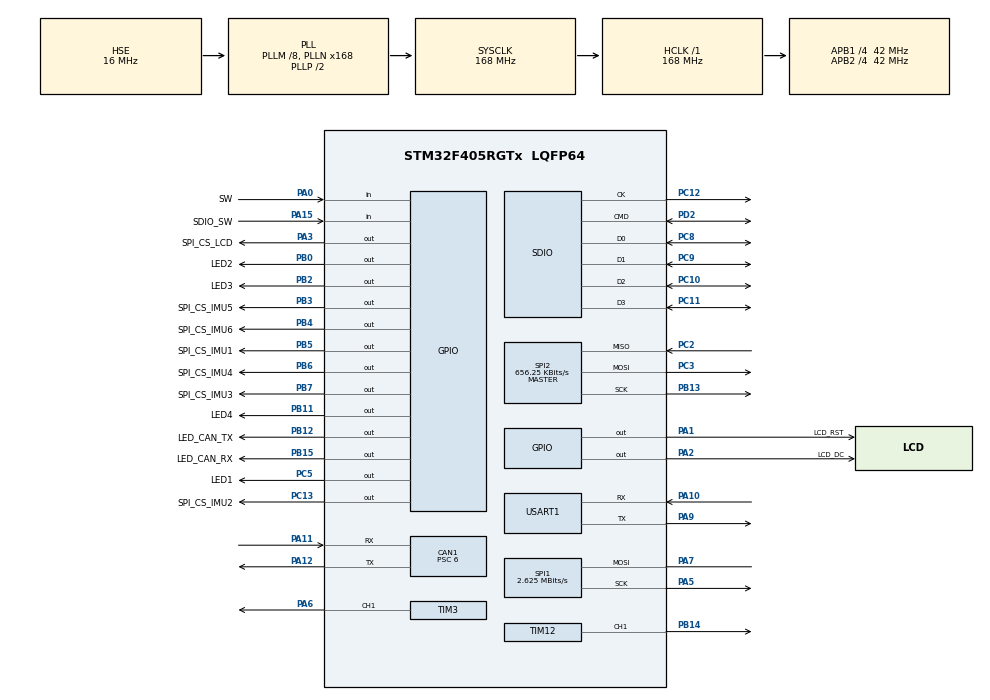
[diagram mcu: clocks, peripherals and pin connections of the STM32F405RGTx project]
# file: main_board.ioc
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CAN1.ABOM=ENABLE
CAN1.AWUM=ENABLE
CAN1.BS1=CAN_BS1_11TQ
CAN1.BS2=CAN_BS2_2TQ
CAN1.CalculateBaudRate=500000
CAN1.CalculateTimeBit=2000
CAN1.CalculateTimeQuantum=142.85714285714286
CAN1.Prescaler=6
CAN1.RFLM=ENABLE
CAN1.TTCM=ENABLE
CAN1.TXFP=ENABLE
Dma.Request0=SDIO_RX
Dma.Request1=SDIO_TX
Dma.SDIO_RX.0.Direction=DMA_PERIPH_TO_MEMORY
Dma.SDIO_RX.0.FIFOMode=DMA_FIFOMODE_ENABLE
Dma.SDIO_RX.0.FIFOThreshold=DMA_FIFO_THRESHOLD_FULL
Dma.SDIO_RX.0.Instance=DMA2_Stream3
Dma.SDIO_RX.0.MemBurst=DMA_MBURST_INC4
Dma.SDIO_RX.0.MemDataAlignment=DMA_MDATAALIGN_WORD
Dma.SDIO_RX.0.MemInc=DMA_MINC_ENABLE
Dma.SDIO_RX.0.Mode=DMA_PFCTRL
Dma.SDIO_RX.0.PeriphBurst=DMA_PBURST_INC4
Dma.SDIO_RX.0.PeriphDataAlignment=DMA_PDATAALIGN_WORD
Dma.SDIO_RX.0.PeriphInc=DMA_PINC_DISABLE
Dma.SDIO_RX.0.Priority=DMA_PRIORITY_LOW
Dma.SDIO_TX.1.Direction=DMA_MEMORY_TO_PERIPH
Dma.SDIO_TX.1.FIFOMode=DMA_FIFOMODE_ENABLE
Dma.SDIO_TX.1.FIFOThreshold=DMA_FIFO_THRESHOLD_FULL
Dma.SDIO_TX.1.Instance=DMA2_Stream6
Dma.SDIO_TX.1.MemBurst=DMA_MBURST_INC4
Dma.SDIO_TX.1.MemDataAlignment=DMA_MDATAALIGN_WORD
Dma.SDIO_TX.1.MemInc=DMA_MINC_ENABLE
Dma.SDIO_TX.1.Mode=DMA_PFCTRL
Dma.SDIO_TX.1.PeriphBurst=DMA_PBURST_INC4
Dma.SDIO_TX.1.PeriphDataAlignment=DMA_PDATAALIGN_WORD
Dma.SDIO_TX.1.PeriphInc=DMA_PINC_DISABLE
Dma.SDIO_TX.1.Priority=DMA_PRIORITY_LOW
FATFS.BSP.number=1
FATFS._FS_REENTRANT=1
FATFS._MAX_SS=4096
FATFS0.BSP.STBoard=false
FATFS0.BSP.api=Unknown
FATFS0.BSP.instance=PA15
FATFS0.BSP.ip=GPIO
FATFS0.BSP.mode=Input
FATFS0.BSP.name=Detect_SDIO
FATFS0.BSP.solution=PA15
FREERTOS.Tasks01=defaultTask,0,128,StartDefaultTask,Default,NULL,Dynamic,NULL,NULL
Mcu.Family=STM32F4
Mcu.Name=STM32F405RGTx
Mcu.Package=LQFP64
NVIC.CAN1_RX0_IRQn=true\:5\:0\:false\:false\:true\:true\:true\:true\:true
NVIC.DMA2_Stream3_IRQn=true\:5\:0\:false\:false\:true\:true\:false\:true\:true
NVIC.DMA2_Stream6_IRQn=true\:5\:0\:false\:false\:true\:true\:false\:true\:true
NVIC.PriorityGroup=NVIC_PRIORITYGROUP_4
NVIC.SDIO_IRQn=true\:5\:0\:false\:false\:true\:true\:true\:true\:true
NVIC.TIM1_BRK_TIM9_IRQn=true\:5\:0\:false\:false\:true\:true\:true\:true\:true
NVIC.TIM1_UP_TIM10_IRQn=true\:5\:0\:false\:false\:true\:true\:true\:true\:true
NVIC.TIM2_IRQn=true\:15\:0\:false\:false\:true\:false\:false\:true\:true
NVIC.TimeBase=TIM2_IRQn
NVIC.TimeBaseIP=TIM2
PA0-WKUP.GPIO_Label=SW
PA0-WKUP.Signal=GPIO_Input
PA1.GPIO_Label=LCD_RST
PA1.Signal=GPIO_Output
PA10.Mode=Asynchronous
PA10.Signal=USART1_RX
PA11.Mode=CAN_Activate
PA11.Signal=CAN1_RX
PA12.Mode=CAN_Activate
PA12.Signal=CAN1_TX
PA13.Mode=Serial_Wire
PA13.Signal=SYS_JTMS-SWDIO
PA14.Mode=Serial_Wire
PA14.Signal=SYS_JTCK-SWCLK
PA15.GPIO_Label=SDIO_SW
PA15.GPIO_PuPd=GPIO_PULLUP
PA15.Signal=GPIO_Input
PA2.GPIO_Label=LCD_DC
PA2.Signal=GPIO_Output
PA3.GPIO_Label=SPI_CS_LCD
PA3.Signal=GPIO_Output
PA5.GPIO_PuPd=GPIO_NOPULL
PA5.Mode=Simplex_Bidirectional_Master
PA5.Signal=SPI1_SCK
PA6.Signal=S_TIM3_CH1
PA7.GPIO_PuPd=GPIO_NOPULL
PA7.Mode=Simplex_Bidirectional_Master
PA7.Signal=SPI1_MOSI
PA9.Mode=Asynchronous
PA9.Signal=USART1_TX
PB0.GPIO_Label=LED2
PB0.Signal=GPIO_Output
PB11.GPIO_Label=LED4
PB11.Signal=GPIO_Output
PB12.GPIO_Label=LED_CAN_TX
PB12.Signal=GPIO_Output
PB13.Mode=Full_Duplex_Master
PB13.Signal=SPI2_SCK
PB14.Signal=S_TIM12_CH1
PB15.GPIO_Label=LED_CAN_RX
PB15.Signal=GPIO_Output
PB2.GPIO_Label=LED3
PB2.Signal=GPIO_Output
PB3.GPIO_Label=SPI_CS_IMU5
PB3.Signal=GPIO_Output
PB4.GPIO_Label=SPI_CS_IMU6
PB4.Signal=GPIO_Output
PB5.GPIO_Label=SPI_CS_IMU1
PB5.Signal=GPIO_Output
PB6.GPIO_Label=SPI_CS_IMU4
PB6.Signal=GPIO_Output
PB7.GPIO_Label=SPI_CS_IMU3
PB7.Signal=GPIO_Output
PC10.Mode=SD_4_bits_Wide_bus
PC10.Signal=SDIO_D2
PC11.Mode=SD_4_bits_Wide_bus
PC11.Signal=SDIO_D3
PC12.Mode=SD_4_bits_Wide_bus
PC12.Signal=SDIO_CK
PC13-ANTI_TAMP.GPIO_Label=SPI_CS_IMU2
PC13-ANTI_TAMP.Signal=GPIO_Output
PC2.Mode=Full_Duplex_Master
PC2.Signal=SPI2_MISO
PC3.Mode=Full_Duplex_Master
PC3.Signal=SPI2_MOSI
PC5.GPIO_Label=LED1
PC5.Signal=GPIO_Output
PC8.Mode=SD_4_bits_Wide_bus
PC8.Signal=SDIO_D0
PC9.Mode=SD_4_bits_Wide_bus
PC9.Signal=SDIO_D1
PD2.Mode=SD_4_bits_Wide_bus
PD2.Signal=SDIO_CMD
PH0-OSC_IN.Mode=HSE-External-Oscillator
PH0-OSC_IN.Signal=RCC_OSC_IN
PH1-OSC_OUT.Mode=HSE-External-Oscillator
PH1-OSC_OUT.Signal=RCC_OSC_OUT
ProjectManager.HeapSize=0x200
ProjectManager.StackSize=0x400
ProjectManager.TargetToolchain=Makefile
RCC.48MHZClocksFreq_Value=48000000
RCC.AHBFreq_Value=168000000
RCC.APB1CLKDivider=RCC_HCLK_DIV4
RCC.APB1Freq_Value=42000000
RCC.APB1TimFreq_Value=84000000
RCC.APB2CLKDivider=RCC_HCLK_DIV4
RCC.APB2Freq_Value=42000000
RCC.APB2TimFreq_Value=84000000
RCC.CortexFreq_Value=168000000
RCC.HCLKFreq_Value=168000000
RCC.HSE_VALUE=16000000
RCC.HSI_VALUE=16000000
RCC.LSE_VALUE=32768
RCC.PLLM=8
RCC.PLLN=168
RCC.PLLQ=7
RCC.PLLSourceVirtual=RCC_PLLSOURCE_HSE
RCC.SYSCLKFreq_VALUE=168000000
RCC.SYSCLKSource=RCC_SYSCLKSOURCE_PLLCLK
RCC.VCOOutputFreq_Value=336000000
SDIO.ClockDiv=20
SH.S_TIM12_CH1.0=TIM12_CH1,PWM Generation1 CH1
SH.S_TIM3_CH1.0=TIM3_CH1,PWM Generation1 CH1
SPI1.BaudRatePrescaler=SPI_BAUDRATEPRESCALER_16
SPI1.CLKPhase=SPI_PHASE_2EDGE
SPI1.CLKPolarity=SPI_POLARITY_HIGH
SPI1.CalculateBaudRate=2.625 MBits/s
SPI1.Direction=SPI_DIRECTION_1LINE
SPI1.Mode=SPI_MODE_MASTER
SPI1.VirtualType=VM_MASTER
SPI2.BaudRatePrescaler=SPI_BAUDRATEPRESCALER_64
SPI2.CLKPhase=SPI_PHASE_2EDGE
SPI2.CLKPolarity=SPI_POLARITY_HIGH
SPI2.CalculateBaudRate=656.25 KBits/s
SPI2.Direction=SPI_DIRECTION_2LINES
SPI2.Mode=SPI_MODE_MASTER
SPI2.VirtualType=VM_MASTER
TIM1.Period=1000-1
TIM1.Prescaler=84-1
TIM12.Channel-PWM\ Generation1\ CH1=TIM_CHANNEL_1
TIM12.Period=1000-1
TIM12.Prescaler=84-1
TIM3.AutoReloadPreload=TIM_AUTORELOAD_PRELOAD_ENABLE
TIM3.Channel-PWM\ Generation1\ CH1=TIM_CHANNEL_1
TIM3.Period=1000-1
TIM3.Prescaler=300-1
USART1.VirtualMode=VM_ASYNC
VP_FATFS_VS_SDIO.Mode=SDIO
VP_FREERTOS_VS_CMSIS_V1.Mode=CMSIS_V1
VP_SYS_VS_tim2.Mode=TIM2
VP_TIM1_VS_ClockSourceINT.Mode=Internal
board=custom

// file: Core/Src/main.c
/* USER CODE BEGIN Header */
/**
 ******************************************************************************
 * @file           : main.c
 * @brief          : Main program body
 ******************************************************************************
 * @attention
 *
 * Copyright (c) 2023 STMicroelectronics.
 * All rights reserved.
 *
 * This software is licensed under terms that can be found in the LICENSE file
 * in the root directory of this software component.
 * If no LICENSE file comes with this software, it is provided AS-IS.
 *
 ******************************************************************************
 */
/* USER CODE END Header */
#include "main.h"
#include "cmsis_os.h"
#include "can.h"
#include "dma.h"
#include "fatfs.h"
#include "sdio.h"
#include "spi.h"
#include "tim.h"
#include "usart.h"
#include "gpio.h"

/* USER CODE BEGIN Includes */
#include "main_exec.h"
#include "LCD_Test.h"
/* USER CODE END Includes */

void SystemClock_Config(void);
void MX_FREERTOS_Init(void);

int main(void)
{

  /* MCU Configuration--------------------------------------------------------*/

  /* Reset of all peripherals, Initializes the Flash interface and the Systick. */
  HAL_Init();

  /* Configure the system clock */
  SystemClock_Config();

  /* Initialize all configured peripherals */
  MX_GPIO_Init();
  MX_DMA_Init();
  MX_CAN1_Init();
  MX_TIM1_Init();
  MX_SPI1_Init();
  MX_SDIO_SD_Init();
  MX_SPI2_Init();
  MX_TIM3_Init();
  MX_TIM12_Init();
  MX_USART1_UART_Init();
  MX_FATFS_Init();
  /* USER CODE BEGIN 2 */
  SEGGER_RTT_Init();
  HAL_TIM_PWM_Start(&htim12, TIM_CHANNEL_1);
  // HAL_UART_Receive_DMA(&huart1, RdBuff, RCV_BUFF_SIZE);
  if (HAL_CAN_ActivateNotification(&hcan1, CAN_IT_RX_FIFO0_MSG_PENDING) != HAL_OK)
  {
    Error_Handler();
  }
  Reset_CS_Pin();

  // SDIO_Test();

  __HAL_TIM_SET_COMPARE(&htim12, TIM_CHANNEL_1, 20);
  HAL_Delay(50);
  __HAL_TIM_SET_COMPARE(&htim12, TIM_CHANNEL_1, 0);

  LCD_1in28_test();

  Initialize();
  /* USER CODE END 2 */

  /* Call init function for freertos objects (in cmsis_os2.c) */
  MX_FREERTOS_Init();

  /* Start scheduler */
  osKernelStart();

  /* We should never get here as control is now taken by the scheduler */

  /* Infinite loop */
  while (1)
  {

  }
}

void SystemClock_Config(void)
{
  RCC_OscInitTypeDef RCC_OscInitStruct = {0};
  RCC_ClkInitTypeDef RCC_ClkInitStruct = {0};

  /** Configure the main internal regulator output voltage
   */
  __HAL_RCC_PWR_CLK_ENABLE();
  __HAL_PWR_VOLTAGESCALING_CONFIG(PWR_REGULATOR_VOLTAGE_SCALE1);

  /** Initializes the RCC Oscillators according to the specified parameters
   * in the RCC_OscInitTypeDef structure.
   */
  RCC_OscInitStruct.OscillatorType = RCC_OSCILLATORTYPE_HSE;
  RCC_OscInitStruct.HSEState = RCC_HSE_ON;
  RCC_OscInitStruct.PLL.PLLState = RCC_PLL_ON;
  RCC_OscInitStruct.PLL.PLLSource = RCC_PLLSOURCE_HSE;
  RCC_OscInitStruct.PLL.PLLM = 8;
  RCC_OscInitStruct.PLL.PLLN = 168;
  RCC_OscInitStruct.PLL.PLLP = RCC_PLLP_DIV2;
  RCC_OscInitStruct.PLL.PLLQ = 7;
  if (HAL_RCC_OscConfig(&RCC_OscInitStruct) != HAL_OK)
  {
    Error_Handler();
  }

  /** Initializes the CPU, AHB and APB buses clocks
   */
  RCC_ClkInitStruct.ClockType = RCC_CLOCKTYPE_HCLK | RCC_CLOCKTYPE_SYSCLK | RCC_CLOCKTYPE_PCLK1 | RCC_CLOCKTYPE_PCLK2;
  RCC_ClkInitStruct.SYSCLKSource = RCC_SYSCLKSOURCE_PLLCLK;
  RCC_ClkInitStruct.AHBCLKDivider = RCC_SYSCLK_DIV1;
  RCC_ClkInitStruct.APB1CLKDivider = RCC_HCLK_DIV4;
  RCC_ClkInitStruct.APB2CLKDivider = RCC_HCLK_DIV4;

  if (HAL_RCC_ClockConfig(&RCC_ClkInitStruct, FLASH_LATENCY_5) != HAL_OK)
  {
    Error_Handler();
  }
}

/* USER CODE BEGIN 4 */
int cnt1kHz = 0;
/* USER CODE END 4 */

void HAL_TIM_PeriodElapsedCallback(TIM_HandleTypeDef *htim)
{
  if (htim->Instance == TIM2)
  {
    HAL_IncTick();
  }
  /* USER CODE BEGIN Callback 1 */
  if (htim->Instance == TIM1) // interruption 1kHz
  {
    cnt1kHz = (cnt1kHz + 1) % 1000;

    if (cnt1kHz % 10 == 0) // interruption 100Hz
    {
      UpdateIMUs();
      CAN_Send();
    }

    if (cnt1kHz % 200 == 0) // interruption 5Hz
    {
      LogPrint();
    }

    if (cnt1kHz == 0) // interruption 1Hz
      Toggle_GPIO(LED_WHITE);
  }
  /* USER CODE END Callback 1 */
}

void Error_Handler(void)
{
  __disable_irq();
  while (1)
  {
  }
}

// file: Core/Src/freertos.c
/* USER CODE BEGIN Header */
/**
 ******************************************************************************
 * File Name          : freertos.c
 * Description        : Code for freertos applications
 ******************************************************************************
 * @attention
 *
 * Copyright (c) 2023 STMicroelectronics.
 * All rights reserved.
 *
 * This software is licensed under terms that can be found in the LICENSE file
 * in the root directory of this software component.
 * If no LICENSE file comes with this software, it is provided AS-IS.
 *
 ******************************************************************************
 */
/* USER CODE END Header */

#include "FreeRTOS.h"
#include "task.h"
#include "main.h"
#include "cmsis_os.h"

/* USER CODE BEGIN Includes */
#include "main_exec.h"
// #include "fatfs.h"
/* USER CODE END Includes */

osThreadId defaultTaskHandle;

void StartDefaultTask(void const * argument);

void MX_FREERTOS_Init(void); /* (MISRA C 2004 rule 8.1) */

/* GetIdleTaskMemory prototype (linked to static allocation support) */
void vApplicationGetIdleTaskMemory( StaticTask_t **ppxIdleTaskTCBBuffer, StackType_t **ppxIdleTaskStackBuffer, uint32_t *pulIdleTaskStackSize );

/* USER CODE BEGIN GET_IDLE_TASK_MEMORY */
static StaticTask_t xIdleTaskTCBBuffer;
static StackType_t xIdleStack[configMINIMAL_STACK_SIZE];

void vApplicationGetIdleTaskMemory(StaticTask_t **ppxIdleTaskTCBBuffer, StackType_t **ppxIdleTaskStackBuffer, uint32_t *pulIdleTaskStackSize)
{
  *ppxIdleTaskTCBBuffer = &xIdleTaskTCBBuffer;
  *ppxIdleTaskStackBuffer = &xIdleStack[0];
  *pulIdleTaskStackSize = configMINIMAL_STACK_SIZE;
  /* place for user code */
}
/* USER CODE END GET_IDLE_TASK_MEMORY */

void MX_FREERTOS_Init(void) {

  /* Create the thread(s) */
  /* definition and creation of defaultTask */
  osThreadDef(defaultTask, StartDefaultTask, osPriorityNormal, 0, 128);
  defaultTaskHandle = osThreadCreate(osThread(defaultTask), NULL);

}

void StartDefaultTask(void const * argument)
{
  /* USER CODE BEGIN StartDefaultTask */
  HAL_TIM_Base_Start_IT(&htim1);
  /* Infinite loop */
  for (;;)
  {
    if (Read_GPIO(USER_SW) == 0)
    {
      Write_GPIO(LED_BLUE, GPIO_PIN_SET);
    }
    else
    {
      Write_GPIO(LED_BLUE, GPIO_PIN_RESET);
    }

    ActivateTxLED();
    ResetTxLED();
    osDelay(100);
    SetTxLED(GPIO_PIN_RESET);

    ActivateRxLED();
    ResetRxLED();
    osDelay(100);
    SetRxLED(GPIO_PIN_RESET);

    // if (rdUart(&rdData) == TRUE)
    // {
    //   SdBuff[rcvLength++] = rdData;
    //   if ((rdData == CHAR_LF) || (rcvLength >= SND_BUFF_SIZE))
    //   {
    //     HAL_UART_Transmit(&huart1, SdBuff, rcvLength, 0xFFFF);
    //     if (Compare_Stop(SdBuff) == TRUE)
    //     {
    //       Write_GPIO(LED_YELLOW, GPIO_PIN_SET);
    //     }
    //     else
    //     {
    //       Write_GPIO(LED_YELLOW, GPIO_PIN_RESET);
    //     }
    //     rcvLength = 0;
    //   }
    // }
  }
  /* USER CODE END StartDefaultTask */
}
